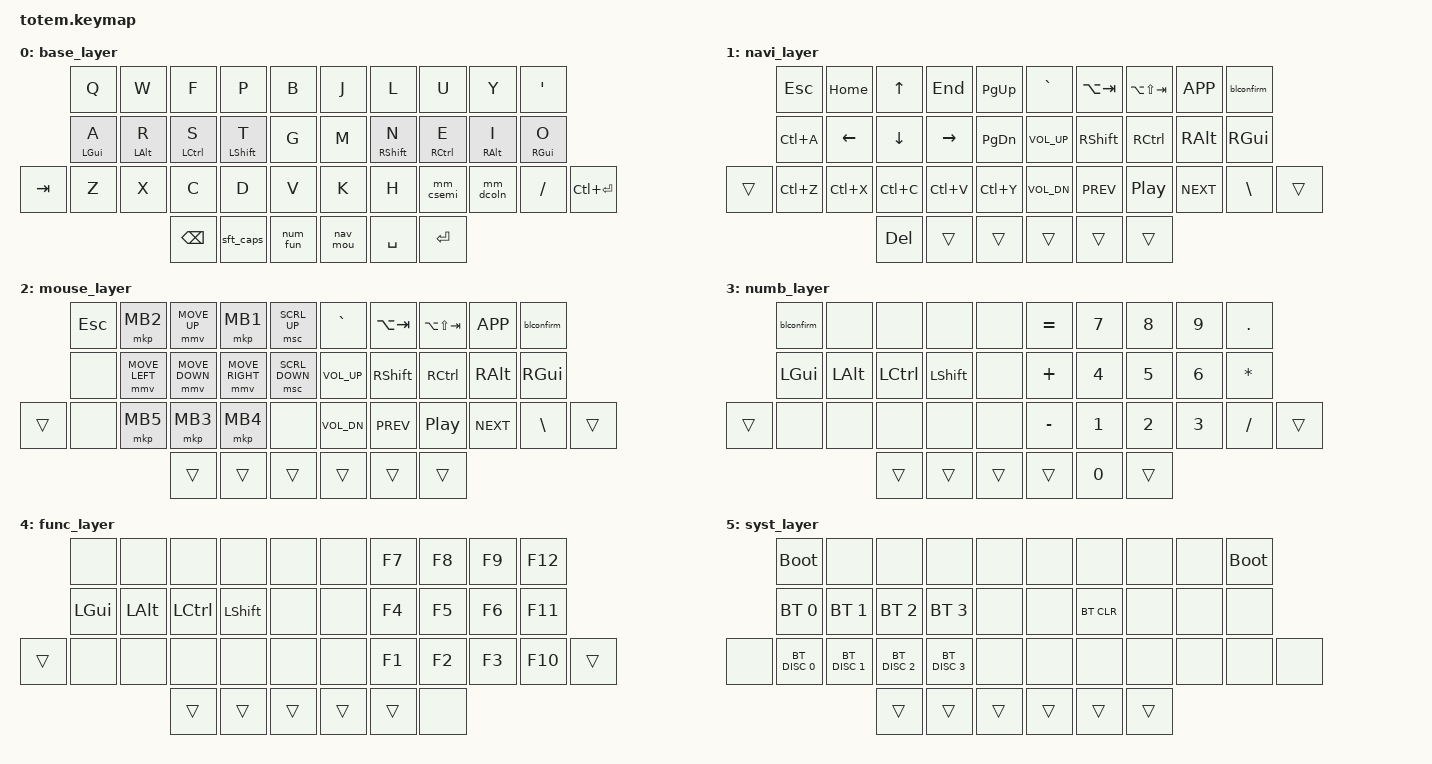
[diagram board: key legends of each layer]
//
//                                                        ▀▀▀▀▀     ▀▀▀▀▀          ▀▀█▀▀
//                                                        ▄▀▀▀▄  ▄  ▄▀▀▀▄  ▄  ▄▀▀▀▄  █  ▄▀▀▀▄
//                                                        █   █  █  █   █  █  █   █  █  █   █
//                                                         ▀▀▀   █   ▀▀▀   █   ▀▀▀   ▀   ▀▀▀
//                                                               █      ▄▄▄█▄▄▄    █   █  
//                                                               ▀      █  █  █     █▄█
//                                                             ▀▀▀▀▀    █  █  █      ▀
//                                                                      ▀  ▀  ▀
//
// ▄▄▄▄▄▄▄▄▄▄▄▄▄▄▄▄▄▄▄▄▄▄▄▄▄▄▄▄▄▄▄▄▄▄▄▄▄▄▄▄▄▄▄▄▄▄▄▄▄▄▄▄▄▄▄▄▄▄▄▄▄▄▄▄▄▄▄▄▄▄▄▄▄▄▄▄▄▄▄▄▄▄▄▄▄▄▄▄▄▄▄▄▄▄▄▄▄▄▄▄▄▄▄▄▄▄▄▄▄▄▄▄▄▄▄▄▄▄▄▄▄▄▄▄▄▄▄▄▄▄▄▄▄▄▄▄▄▄▄▄▄▄▄▄▄▄▄▄▄
/*                    KEY POSITIONS
      ╭────────────────────╮ ╭────────────────────╮
      │  0   1   2   3   4 │ │  5   6   7   8   9 │
  ╭───╯ 10  11  12  13  14 │ │ 15  16  17  18  19 ╰───╮
  │ 20  21  22  23  24  25 │ │ 26  27  28  29  30  31 │
  ╰───────────╮ 32  33  34 │ │ 35  36  37 ╭───────────╯
              ╰────────────╯ ╰────────────╯         */

#include <behaviors.dtsi>
#include <dt-bindings/zmk/bt.h>
#include <dt-bindings/zmk/keys.h>

#define ZMK_POINTING_DEFAULT_MOVE_VAL 1200
#define ZMK_POINTING_DEFAULT_SCRL_VAL 15

#include <dt-bindings/zmk/pointing.h>

#define BASE 0
#define NAVI 1
#define MOUS 2
#define NUMB 3
#define FUNC 4
#define SYST 5
 
#include "behaviors.dtsi"
#include "combos.dtsi"

/ {
    conditional_layers {
        compatible = "zmk,conditional-layers";
        tri_layer {
            if-layers = <NAVI NUMB>;
            then-layer = <SYST>;
        };
    };

    keymap {
        compatible = "zmk,keymap";

        base_layer {
        bindings = <
            &kp Q         &kp W         &kp F         &kp P         &kp B                    &kp J         &kp L         &kp U         &kp Y         &kp SQT
            &hml LGUI A   &hml LALT R   &hml LCTL S   &hml LSHIFT T &kp G                    &kp M         &hmr RSHIFT N &hmr RCTL E   &hmr RALT I   &hmr RGUI O
&kp TAB     &kp Z         &kp X         &kp C         &kp D         &kp V                    &kp K         &kp H         &mm_csemi     &mm_dcoln     &kp FSLH       &kp LC(ENTER)
                                        &kp BSPC      &sft_caps     &num_fun                 &nav_mou      &kp SPACE     &kp ENTER
        >;
        };

        navi_layer {
        bindings = <
            &kp ESC       &kp HOME      &kp UP        &kp END       &kp PG_UP                &kp GRAVE     &kp LA(TAB)   &kp LA(LS(TAB)) &kp K_APP   &blconfirm
            &kp LC(A)     &kp LEFT      &kp DOWN      &kp RIGHT     &kp PG_DN                &kp C_VOL_UP  &kp RSHIFT    &kp RCTRL     &kp RALT      &kp RGUI
&trans      &kp LC(Z)     &kp LC(X)     &kp LC(C)     &kp LC(V)     &kp LC(Y)                &kp C_VOL_DN  &kp C_PREV    &kp C_PP      &kp C_NEXT    &kp BACKSLASH  &trans
                                        &kp DEL       &trans        &trans                   &trans        &trans        &trans
            >;
        };

        mouse_layer {
        bindings = <
            &kp ESC       &mkp MB2      &mmv MOVE_UP  &mkp MB1      &msc SCRL_UP             &kp GRAVE     &kp LA(TAB)   &kp LA(LS(TAB)) &kp K_APP   &blconfirm
            &none         &mmv MOVE_LEFT &mmv MOVE_DOWN &mmv MOVE_RIGHT &msc SCRL_DOWN       &kp C_VOL_UP  &kp RSHIFT    &kp RCTRL     &kp RALT      &kp RGUI
&trans      &none         &mkp MB5      &mkp MB3      &mkp MB4      &none                    &kp C_VOL_DN  &kp C_PREV    &kp C_PP      &kp C_NEXT    &kp BACKSLASH  &trans
                                        &trans        &trans        &trans                   &trans        &trans        &trans
            >;
        };

        numb_layer {
        bindings = <
            &blconfirm    &none         &none         &none         &none                   &kp EQUAL     &kp N7        &kp N8        &kp N9        &kp DOT
            &kp LGUI      &kp LALT      &kp LCTL      &kp LSHIFT    &none                   &kp PLUS      &kp N4        &kp N5        &kp N6        &kp ASTRK
&trans      &none         &none         &none         &none         &none                   &kp MINUS     &kp N1        &kp N2        &kp N3        &kp FSLH        &trans
                                        &trans        &trans        &trans                  &trans        &kp N0        &trans
        >;
        };

        func_layer {
        bindings = <
            &none         &none         &none         &none         &none                    &none         &kp F7        &kp F8       &kp F9        &kp F12
            &kp LGUI      &kp LALT      &kp LCTL      &kp LSHIFT    &none                    &none         &kp F4        &kp F5       &kp F6        &kp F11
&trans      &none         &none         &none         &none         &none                    &none         &kp F1        &kp F2       &kp F3        &kp F10         &trans
                                        &trans        &trans        &trans                   &trans        &trans        &none
        >;
        };

        syst_layer {
        bindings = <
            &bootloader   &none         &none         &none         &none                    &none         &none         &none         &none         &bootloader
            &bt BT_SEL 0  &bt BT_SEL 1  &bt BT_SEL 2  &bt BT_SEL 3  &none                    &none         &bt BT_CLR    &none         &none         &none
&none       &bt BT_DISC 0 &bt BT_DISC 1 &bt BT_DISC 2 &bt BT_DISC 3 &none                    &none         &none         &none         &none         &none          &none
                                        &trans        &trans        &trans                   &trans        &trans        &trans
        >;
        };
    };
};
